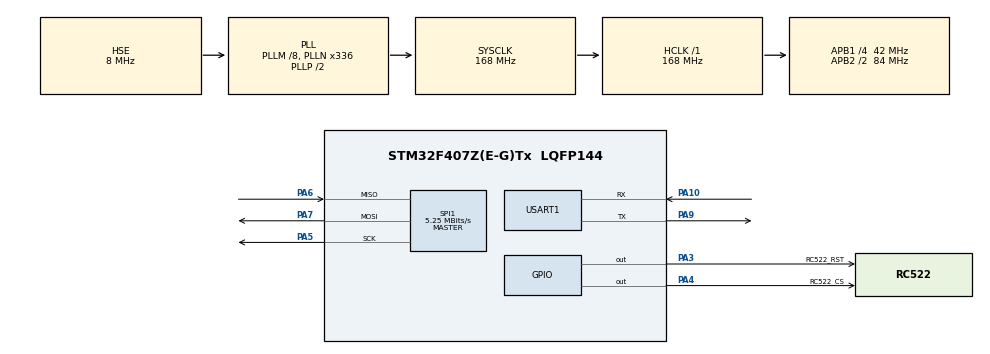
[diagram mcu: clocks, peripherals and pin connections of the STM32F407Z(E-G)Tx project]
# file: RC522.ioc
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Mcu.Family=STM32F4
Mcu.Name=STM32F407Z(E-G)Tx
Mcu.Package=LQFP144
NVIC.PriorityGroup=NVIC_PRIORITYGROUP_4
PA10.Mode=Asynchronous
PA10.Signal=USART1_RX
PA13.Mode=JTAG_5_pins
PA13.Signal=SYS_JTMS-SWDIO
PA14.Mode=JTAG_5_pins
PA14.Signal=SYS_JTCK-SWCLK
PA15.Mode=JTAG_5_pins
PA15.Signal=SYS_JTDI
PA3.GPIO_Label=RC522_RST
PA3.GPIO_PuPd=GPIO_PULLUP
PA3.GPIO_Speed=GPIO_SPEED_FREQ_VERY_HIGH
PA3.PinState=GPIO_PIN_SET
PA3.Signal=GPIO_Output
PA4.GPIO_Label=RC522_CS
PA4.GPIO_PuPd=GPIO_PULLUP
PA4.GPIO_Speed=GPIO_SPEED_FREQ_VERY_HIGH
PA4.PinState=GPIO_PIN_SET
PA4.Signal=GPIO_Output
PA5.GPIO_PuPd=GPIO_PULLUP
PA5.Mode=Full_Duplex_Master
PA5.Signal=SPI1_SCK
PA6.GPIO_PuPd=GPIO_PULLUP
PA6.Mode=Full_Duplex_Master
PA6.Signal=SPI1_MISO
PA7.GPIO_PuPd=GPIO_PULLUP
PA7.Mode=Full_Duplex_Master
PA7.Signal=SPI1_MOSI
PA9.Mode=Asynchronous
PA9.Signal=USART1_TX
PB3.Mode=JTAG_5_pins
PB3.Signal=SYS_JTDO-SWO
PB4.Mode=JTAG_5_pins
PB4.Signal=SYS_JTRST
PH0-OSC_IN.Mode=HSE-External-Oscillator
PH0-OSC_IN.Signal=RCC_OSC_IN
PH1-OSC_OUT.Mode=HSE-External-Oscillator
PH1-OSC_OUT.Signal=RCC_OSC_OUT
ProjectManager.HeapSize=0x200
ProjectManager.StackSize=0x400
ProjectManager.TargetToolchain=EWARM
RCC.48MHZClocksFreq_Value=84000000
RCC.AHBFreq_Value=168000000
RCC.APB1CLKDivider=RCC_HCLK_DIV4
RCC.APB1Freq_Value=42000000
RCC.APB1TimFreq_Value=84000000
RCC.APB2CLKDivider=RCC_HCLK_DIV2
RCC.APB2Freq_Value=84000000
RCC.APB2TimFreq_Value=168000000
RCC.CortexFreq_Value=168000000
RCC.EnbaleCSS=true
RCC.HCLKFreq_Value=168000000
RCC.HSE_VALUE=8000000
RCC.HSI_VALUE=16000000
RCC.LSE_VALUE=32768
RCC.PLLM=8
RCC.PLLN=336
RCC.PLLSourceVirtual=RCC_PLLSOURCE_HSE
RCC.SYSCLKFreq_VALUE=168000000
RCC.SYSCLKSource=RCC_SYSCLKSOURCE_PLLCLK
RCC.VCOOutputFreq_Value=336000000
SPI1.BaudRatePrescaler=SPI_BAUDRATEPRESCALER_16
SPI1.CLKPhase=SPI_PHASE_2EDGE
SPI1.CLKPolarity=SPI_POLARITY_HIGH
SPI1.CalculateBaudRate=5.25 MBits/s
SPI1.Mode=SPI_MODE_MASTER
board=RC522

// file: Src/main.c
/**
  ******************************************************************************
  * File Name          : main.c
  * Description        : Main program body
  ******************************************************************************
  *
  * COPYRIGHT(c) 2016 STMicroelectronics
  *
  * Redistribution and use in source and binary forms, with or without modification,
  * are permitted provided that the following conditions are met:
  *   1. Redistributions of source code must retain the above copyright notice,
  *      this list of conditions and the following disclaimer.
  *   2. Redistributions in binary form must reproduce the above copyright notice,
  *      this list of conditions and the following disclaimer in the documentation
  *      and/or other materials provided with the distribution.
  *   3. Neither the name of STMicroelectronics nor the names of its contributors
  *      may be used to endorse or promote products derived from this software
  *      without specific prior written permission.
  *
  * THIS SOFTWARE IS PROVIDED BY THE COPYRIGHT HOLDERS AND CONTRIBUTORS "AS IS"
  * AND ANY EXPRESS OR IMPLIED WARRANTIES, INCLUDING, BUT NOT LIMITED TO, THE
  * IMPLIED WARRANTIES OF MERCHANTABILITY AND FITNESS FOR A PARTICULAR PURPOSE ARE
  * DISCLAIMED. IN NO EVENT SHALL THE COPYRIGHT HOLDER OR CONTRIBUTORS BE LIABLE
  * FOR ANY DIRECT, INDIRECT, INCIDENTAL, SPECIAL, EXEMPLARY, OR CONSEQUENTIAL
  * DAMAGES (INCLUDING, BUT NOT LIMITED TO, PROCUREMENT OF SUBSTITUTE GOODS OR
  * SERVICES; LOSS OF USE, DATA, OR PROFITS; OR BUSINESS INTERRUPTION) HOWEVER
  * CAUSED AND ON ANY THEORY OF LIABILITY, WHETHER IN CONTRACT, STRICT LIABILITY,
  * OR TORT (INCLUDING NEGLIGENCE OR OTHERWISE) ARISING IN ANY WAY OUT OF THE USE
  * OF THIS SOFTWARE, EVEN IF ADVISED OF THE POSSIBILITY OF SUCH DAMAGE.
  *
  ******************************************************************************
  */
#include "stm32f4xx_hal.h"
#include "spi.h"
#include "usart.h"
#include "gpio.h"

/* USER CODE BEGIN Includes */
#include "rc522.h"
/* USER CODE END Includes */

/* USER CODE BEGIN PV */
/* Private variables ---------------------------------------------------------*/

/* USER CODE END PV */

void SystemClock_Config(void);
void Error_Handler(void);

/* USER CODE BEGIN PFP */
/* Private function prototypes -----------------------------------------------*/

/* USER CODE END PFP */

int main(void)
{

  /* MCU Configuration----------------------------------------------------------*/

  /* Reset of all peripherals, Initializes the Flash interface and the Systick. */
  HAL_Init();

  /* Configure the system clock */
  SystemClock_Config();

  /* Initialize all configured peripherals */
  MX_GPIO_Init();
  MX_SPI1_Init();
  MX_USART1_UART_Init();

  /* USER CODE BEGIN 2 */

 uint8_t i;
	uint8_t Card_Type1[2];
	uint8_t Card_ID[4];
	uint8_t Card_KEY[6] = {0xff,0xff,0xff,0xff,0xff,0xff};    //{0x11,0x11,0x11,0x11,0x11,0x11};   //密码
	uint8_t Card_Data[16];
	uint8_t status;

	printf("\x0c\0");printf("\x0c\0");//超级终端清屏
	printf("\033[1;40;32m");//设置超级终端背景为黑色，字符为绿色
	printf("\r\n*******************************************************************************");
	printf("\r\n************************ Copyright 2009-2012, ViewTool ************************");
	printf("\r\n************************* http://www.viewtool.com/bbs *************************");
	printf("\r\n***************************** All Rights Reserved *****************************");
	printf("\r\n*******************************************************************************");
	printf("\r\n");

	PcdReset();
	PcdAntennaOff();
	HAL_Delay(2);
	PcdAntennaOn();
  /* USER CODE END 2 */

  /* Infinite loop */
  while (1)
  {

  /* USER CODE BEGIN 3 */
    HAL_Delay(10);
		if(MI_OK==PcdRequest(0x52, Card_Type1))
		{
			uint16_t cardType = (Card_Type1[0]<<8)|Card_Type1[1];
			printf("Card Type(0x%04X):",cardType);
			switch(cardType){
			case 0x4400:
					printf("Mifare UltraLight\n\r");
					break;
			case 0x0400:
					printf("Mifare One(S50)\n\r");
					break;
			case 0x0200:
					printf("Mifare One(S70)\n\r");
					break;
			case 0x0800:
					printf("Mifare Pro(X)\n\r");
					break;
			case 0x4403:
					printf("Mifare DESFire\n\r");
					break;
			default:
					printf("Unknown Card\n\r");
					continue;
			}
			//HAL_Delay(10);
			status = PcdAnticoll(Card_ID);//防冲撞
			if(status != MI_OK){
					printf("Anticoll Error\n\r");
					continue;
			}else{
					printf("Serial Number:%02X%02X%02X%02X\n\r",Card_ID[0],Card_ID[1],Card_ID[2],Card_ID[3]);
			}
			status = PcdSelect(Card_ID);  //选卡
			if(status != MI_OK){
					printf("Select Card Error\n\r");
					continue;
			}
//			status = PcdAuthState(PICC_AUTHENT1A,5,Card_KEY,Card_ID);
//			if(status != MI_OK){
//					printf("Auth State Error\n\r");
//					continue;
//			}
//			memset(Card_ID,1,4);
//			memset(Card_Data,1,16);
//			Card_Data[0]=0xaa;
//			status = PcdWrite(5,Card_Data);                   //写入0XAA,0X01,0X01……
//			if(status != MI_OK){
//					printf("Card Write Error\n\r");
//					continue;
//			}
//			memset(Card_Data,0,16);
//			HAL_Delay(1);
//
//			status = PcdRead(5,Card_Data);                    //再一次把它读取出来16字节的卡片数据
//			if(status != MI_OK){
//					printf("Card Read Error\n\r");
//					continue;
//			}else{
//				for(i=0;i<16;i++){
//					printf("%02X ",Card_Data[i]);
//				}
//				printf("\n\r");
//			}
//
//			memset(Card_Data,2,16);
//			Card_Data[0]=0xbb;
//			HAL_Delay(1);
//			status = PcdWrite(5,Card_Data);                   //写入0Xbb,0X02,0X02……
//			if(status != MI_OK){
//					printf("Card Write Error\n\r");
//					continue;
//			}
//			HAL_Delay(1);
			for(uint8_t j=0;j<64;j++)
			{
			status = PcdAuthState(PICC_AUTHENT1A,j,Card_KEY,Card_ID);
			if(status != MI_OK){
					printf("Auth State Error\n\r");
					continue;
			}
			status = PcdRead(j,Card_Data);                    //再一次把它读取出来16字节的卡片数据
			if(status != MI_OK){
					printf("Card Read Error\n\r");
					continue;
			}else{
				for(i=0;i<16;i++){
					printf("%02X ",Card_Data[i]);
				}
				printf("\n\r");
			}

			}
			memset(Card_Data,0,16);
			PcdHalt();
			HAL_Delay(1000);
		}
  }
  /* USER CODE END 3 */

}

/** System Clock Configuration
*/
void SystemClock_Config(void)
{

  RCC_OscInitTypeDef RCC_OscInitStruct;
  RCC_ClkInitTypeDef RCC_ClkInitStruct;

  __HAL_RCC_PWR_CLK_ENABLE();

  __HAL_PWR_VOLTAGESCALING_CONFIG(PWR_REGULATOR_VOLTAGE_SCALE1);

  RCC_OscInitStruct.OscillatorType = RCC_OSCILLATORTYPE_HSE;
  RCC_OscInitStruct.HSEState = RCC_HSE_ON;
  RCC_OscInitStruct.PLL.PLLState = RCC_PLL_ON;
  RCC_OscInitStruct.PLL.PLLSource = RCC_PLLSOURCE_HSE;
  RCC_OscInitStruct.PLL.PLLM = 8;
  RCC_OscInitStruct.PLL.PLLN = 336;
  RCC_OscInitStruct.PLL.PLLP = RCC_PLLP_DIV2;
  RCC_OscInitStruct.PLL.PLLQ = 4;
  if (HAL_RCC_OscConfig(&RCC_OscInitStruct) != HAL_OK)
  {
    Error_Handler();
  }

  RCC_ClkInitStruct.ClockType = RCC_CLOCKTYPE_HCLK|RCC_CLOCKTYPE_SYSCLK
                              |RCC_CLOCKTYPE_PCLK1|RCC_CLOCKTYPE_PCLK2;
  RCC_ClkInitStruct.SYSCLKSource = RCC_SYSCLKSOURCE_PLLCLK;
  RCC_ClkInitStruct.AHBCLKDivider = RCC_SYSCLK_DIV1;
  RCC_ClkInitStruct.APB1CLKDivider = RCC_HCLK_DIV4;
  RCC_ClkInitStruct.APB2CLKDivider = RCC_HCLK_DIV2;
  if (HAL_RCC_ClockConfig(&RCC_ClkInitStruct, FLASH_LATENCY_5) != HAL_OK)
  {
    Error_Handler();
  }

  HAL_RCC_EnableCSS();

  HAL_SYSTICK_Config(HAL_RCC_GetHCLKFreq()/1000);

  HAL_SYSTICK_CLKSourceConfig(SYSTICK_CLKSOURCE_HCLK);

  /* SysTick_IRQn interrupt configuration */
  HAL_NVIC_SetPriority(SysTick_IRQn, 0, 0);
}

void Error_Handler(void)
{
  while(1)
  {
  }
}

/************************ (C) COPYRIGHT STMicroelectronics *****END OF FILE****/
